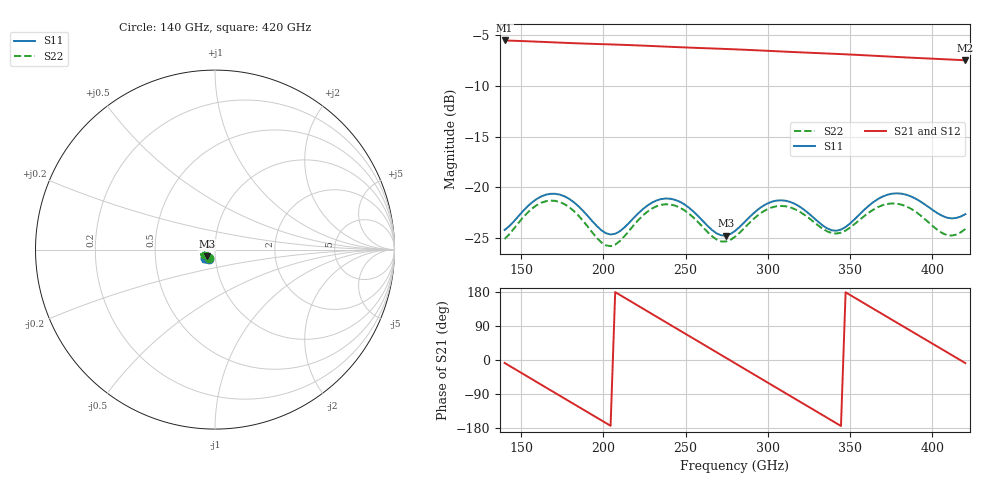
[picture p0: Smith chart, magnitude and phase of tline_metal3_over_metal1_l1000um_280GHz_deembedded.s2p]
! Created with skrf 2.0.1 (http://scikit-rf.org).
# GHz S DB R 50.0
!freq dBS11 angS11 dBS21 angS21 dBS12 angS12 dBS22 angS22
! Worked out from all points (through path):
!   101 points, 140 GHz to 420 GHz, reference 50 ohm
!   highest |S21| = -5.54 dB at 140 GHz (marker M1); lowest = -7.5 dB at 420 GHz (marker M2)
!   group delay of S21, straight-line fit = 7.15 ps
!   lowest |S11| = -24.7 dB at 274.4 GHz (marker M3), VSWR 1.12, Z = 45.6 - j3.39 ohm
!   |S11| at or under -10 dB: start of sweep to end of sweep
!   |S22| runs from -25.8 to -21.3 dB; largest |S21 - S12| = 8.4e-14
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140  -24.19 -124.2  -5.54 -7.8  -5.54 -7.8  -25.07 -124.2
151.2  -22.33 -119.1  -5.60 -36.7  -5.60 -36.7  -22.96 -120.6
165.2  -20.71 -129.8  -5.70 -72.8  -5.70 -72.8  -21.35 -133.3
176.4  -20.88 -141.6  -5.77 -101.6  -5.77 -101.6  -21.65 -146.3
187.6  -22.29 -149.5  -5.84 -130.4  -5.84 -130.4  -23.27 -154.7
198.8  -24.22 -146.0  -5.90 -159.2  -5.90 -159.2  -25.41 -150.0
210  -24.32 -132.4  -5.96 171.9  -5.96 171.9  -25.28 -134.5
221.2  -22.56 -128.1  -6.03 143.0  -6.03 143.0  -23.22 -131.3
235.2  -21.15 -137.4  -6.13 106.9  -6.13 106.9  -21.71 -142.4
252  -21.99 -151.3  -6.24 63.7  -6.24 63.7  -22.58 -157.8
274.4  -24.74 -140.2  -6.38 6.0  -6.38 6.0  -25.33 -148.0
280  -24.29 -133.8  -6.42 -8.4  -6.42 -8.4  -24.86 -141.9
291.2  -22.55 -130.5  -6.49 -37.3  -6.49 -37.3  -23.12 -139.4
305.2  -21.30 -139.0  -6.60 -73.4  -6.60 -73.4  -21.86 -148.7
316.4  -21.62 -147.5  -6.69 -102.2  -6.69 -102.2  -22.14 -157.8
327.6  -22.96 -150.9  -6.77 -130.9  -6.77 -130.9  -23.37 -162.0
338.8  -24.22 -143.2  -6.84 -159.7  -6.84 -159.7  -24.49 -156.3
350  -23.54 -131.5  -6.93 171.4  -6.93 171.4  -23.95 -147.2
375.2  -20.62 -138.7  -7.14 106.7  -7.14 106.7  -21.58 -156.7
394.8  -21.61 -150.5  -7.30 56.4  -7.30 56.4  -23.04 -168.9
408.8  -22.97 -146.1  -7.40 20.5  -7.40 20.5  -24.69 -162.0
420  -22.63 -137.6  -7.49 -8.2  -7.49 -8.2  -24.09 -151.6
